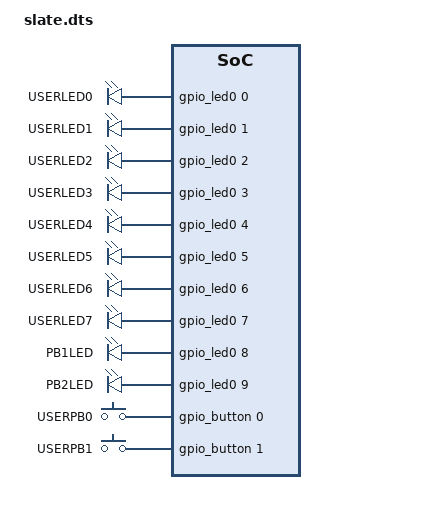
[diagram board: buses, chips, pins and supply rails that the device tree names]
/*
 * Copyright (c) 2018-2021 Linaro Limited
 *
 * SPDX-License-Identifier: Apache-2.0
 */

/dts-v1/;

#include <arm/armv8.1-m.dtsi>
#include <dt-bindings/i2c/i2c.h>
#include <mem.h>

/ {
	compatible = "arm,slate";
	#address-cells = <1>;
	#size-cells = <1>;

	aliases {
		led0 = &led_0;
		led1 = &led_1;
		sw0 = &user_button_0;
		sw1 = &user_button_1;
	};

	chosen {
		zephyr,console = &uart0;
		zephyr,shell-uart = &uart0;
		zephyr,sram = &sram;
		zephyr,flash = &flash;
	};

	leds {
		compatible = "gpio-leds";
		led_0: led_0 {
			gpios = <&gpio_led0 0>;
			label = "USERLED0";
		};
		led_1: led_1 {
			gpios = <&gpio_led0 1>;
			label = "USERLED1";
		};
		led_2: led_2 {
			gpios = <&gpio_led0 2>;
			label = "USERLED2";
		};
		led_3: led_3 {
			gpios = <&gpio_led0 3>;
			label = "USERLED3";
		};
		led_4: led_4 {
			gpios = <&gpio_led0 4>;
			label = "USERLED4";
		};
		led_5: led_5 {
			gpios = <&gpio_led0 5>;
			label = "USERLED5";
		};
		led_6: led_6 {
			gpios = <&gpio_led0 6>;
			label = "USERLED6";
		};
		led_7: led_7 {
			gpios = <&gpio_led0 7>;
			label = "USERLED7";
		};
		led_8: led_8 {
			gpios = <&gpio_led0 8>;
			label = "PB1LED";
		};
		led_9: led_9 {
			gpios = <&gpio_led0 9>;
			label = "PB2LED";
		};
	};

	gpio_keys {
		compatible = "gpio-keys";
		user_button_0: button_0 {
			label = "USERPB0";
			gpios = <&gpio_button 0>;
		};
		user_button_1: button_1 {
			label = "USERPB1";
			gpios = <&gpio_button 1>;
		};
	};

	cpus {
		#address-cells = <1>;
		#size-cells = <0>;

		cpu@0 {
			device_type = "cpu";
			compatible = "arm,cortex-m55";
			reg = <0>;
			#address-cells = <1>;
			#size-cells = <1>;

			mpu: mpu@e000ed90 {
				compatible = "arm,armv8.1m-mpu";
				reg = <0xe000ed90 0x40>;
				arm,num-mpu-regions = <16>;
			};
		};
	};

	/* We utilize the secure addresses, if you subtract 0x10000000
	 * you'll get the non-secure alias
	 */
	flash: flash@10000000 {
		compatible = "soc-nv-flash";
		reg = <0x10000000 DT_SIZE_M(1)>;
	};

	sram: sram@12000000 {
		compatible = "mmio-sram";
		reg = <0x11000000 DT_SIZE_M(2)>;
	};

	sram2: sram2@21000000 {
		compatible = "zephyr,memory-region";
		reg = <0x21000000 DT_SIZE_M(1)>;
		zephyr,memory-region = "SRAM_2";
	};

	ram_fb: ramfb@21800000 {
		compatible = "zephyr,memory-region";
		reg = <0x21800000 DT_SIZE_M(1)>;
		zephyr,memory-region = "RAM_FB";
	};

	fb_io: fb_io@21900000 {
		compatible = "zephyr,memory-region";
		reg = <0x21900000 0x40>;
		zephyr,memory-region = "FB_IO";
	};

	nema_io: nema_io@22000000 {
		compatible = "zephyr,memory-region";
		reg = <0x22000000 0x1000>;
		zephyr,memory-region = "NEMA_IO";
	};

	nema_fb: nema_fb@22001000 {
		compatible = "zephyr,memory-region";
		reg = <0x22001000 DT_SIZE_M(2)>;
		zephyr,memory-region = "NEMA_FB";
	};

	nema_cl: nema_cl@22201000 {
		compatible = "zephyr,memory-region";
		reg = <0x22201000 0x4000>;
		zephyr,memory-region = "NEMA_CL";
	};

	host_clk_io: host_clk_io@22300000 {
		compatible = "zephyr,memory-region";
		reg = <0x22300000 0x100>;
		zephyr,memory-region = "HOST_CLK_IO";
	};

	soc {
		peripheral@50000000 {
			#address-cells = <1>;
			#size-cells = <1>;
			ranges = <0x0 0x50000000 0x10000000>;

			#include "slate-common.dtsi"
		};
	};
};

&nvic {
	arm,num-irq-priority-bits = <3>;
};
